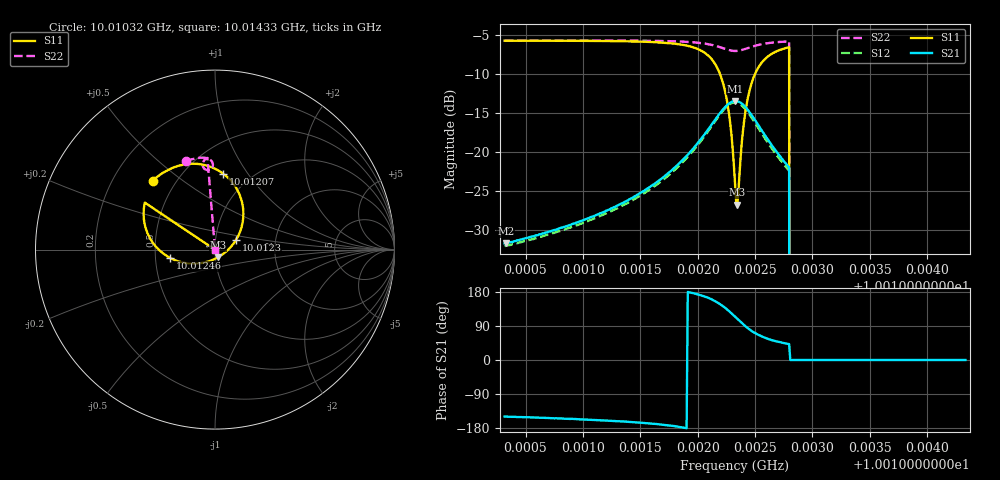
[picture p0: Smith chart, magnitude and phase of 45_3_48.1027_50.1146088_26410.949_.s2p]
#  HZ  S  RI  R  50.00
! Rohde & Schwarz Vector Network Analyzer
! Rohde-Schwarz,ZNB20-2Port,1311601062101988,3.16
! Created: UTC 12/23/2023, 3:39:12 AM
! freq[Hz]  re:S11  im:S11  re:S21  im:S21  re:S12  im:S12  re:S22  im:S22
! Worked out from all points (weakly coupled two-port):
!   401 points, 10.01032 GHz to 10.01433 GHz, reference 50 ohm
!   highest |S21| = -13.44 dB at 10.01233 GHz (marker M1); lowest = -31.7 dB at 10.01033 GHz (marker M2)
!   lowest |S11| = -26.7 dB at 10.01235 GHz (marker M3), VSWR 1.10, Z = 51.4 - j4.46 ohm
!   |S11| at or under -10 dB: 10.0122 GHz to 10.0125 GHz (304.6 kHz wide, 0.00304 % of centre); 10.0128 GHz to end of sweep
!   |S22| runs from - to -5.7 dB; largest |S21 - S12| = 0.0099
!   S11 on the Smith chart (normalised r, x): 10.01032 GHz: 0.37, +0.39; 10.01207 GHz: 0.75, +0.78; 10.0123 GHz: 1.26, +0.13; 10.01246 GHz: 0.60, -0.06; 10.01433 GHz: 1.00, +0.00
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1.0010317e10  -0.346 0.3847  -0.0225 -0.0134  -0.0208 -0.0139  -0.1615 0.4934
1.0010328e10  -0.3454 0.3851  -0.0225 -0.0133  -0.0211 -0.0139  -0.161 0.4937
1.001099e10  -0.2895 0.4277  -0.0335 -0.0143  -0.0314 -0.0154  -0.1168 0.5062
1.0011663e10  -0.176 0.4735  -0.065 -0.0117  -0.062 -0.0147  -0.0644 0.512
1.0011894e10  -0.0851 0.476  -0.0931 -0.000698  -0.0899 -0.00598  -0.0411 0.5081
1.0012075e10  0.0442 0.424  -0.1308 0.0323  -0.1289 0.0247  -0.0198 0.4942
1.0012155e10  0.1167 0.3457  -0.1471 0.0693  -0.147 0.0597  -0.0124 0.4804
1.0012215e10  0.1551 0.2409  -0.1494 0.1113  -0.1514 0.1022  -0.0124 0.4651
1.0012265e10  0.148 0.1248  -0.134 0.1529  -0.1372 0.1451  -0.0194 0.4523
1.0012295e10  0.1164 0.0527  -0.1142 0.1763  -0.1184 0.1685  -0.0269 0.4465
1.0012326e10  0.0622 -0.0108  -0.0873 0.1941  -0.0926 0.1867  -0.0365 0.4434
1.0012346e10  0.0162 -0.0433  -0.0668 0.2013  -0.0721 0.1941  -0.0435 0.4433
1.0012356e10  -0.00935 -0.0557  -0.0565 0.2034  -0.061 0.1965  -0.047 0.4439
1.0012406e10  -0.1404 -0.0778  -0.00636 0.1986  -0.0107 0.192  -0.0609 0.4521
1.0012456e10  -0.2507 -0.0459  0.0322 0.1762  0.0262 0.1705  -0.0681 0.4645
1.0012506e10  -0.3243 0.0111  0.0541 0.1485  0.0475 0.1441  -0.0691 0.4767
1.0012577e10  -0.3771 0.094  0.0661 0.114  0.0598 0.1109  -0.065 0.4902
1.0012777e10  -0.3931 0.251  0.0609 0.0567  0.0555 0.0565  -0.0442 0.5097
1.0012828e10  0 0  0 0  0 0  0 0
1.0012998e10  0 0  0 0  0 0  0 0
1.0013671e10  0 0  0 0  0 0  0 0
1.0014334e10  0 0  0 0  0 0  0 0
